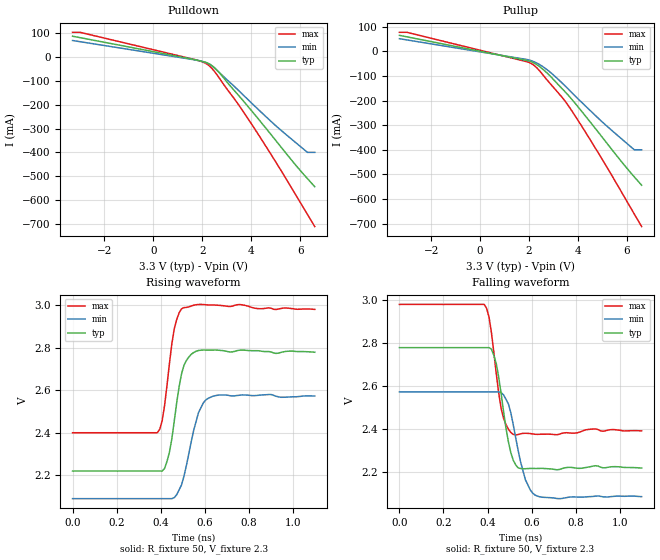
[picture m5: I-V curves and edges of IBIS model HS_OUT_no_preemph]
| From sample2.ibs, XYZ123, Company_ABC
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|   Model HS_OUT_no_preemph
[Model]   HS_OUT_no_preemph
Model_type   Output_ECL
Polarity   Non-Inverting
Vmeas   = 2.4V
Cref   = 0pF
Vref   = 2.3V
Rref   = 50ohms
C_comp   1.6pF   1.6pF   1.6pF
[Temperature Range]   50   0   125
[Voltage Range]   3.3V   3.135V   3.465V
[Pullup Reference]   3.3V   3.0V   3.6V
[Pulldown Reference]   3.3V   3.0V   3.6V
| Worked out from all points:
|   rising waveform, R_fixture 50, V_fixture 2.3: 20-80 % time 49.1ps typ, 63.6ps min, 42.1ps max; typ from 2.22 V to 2.78 V
|   falling waveform, R_fixture 50, V_fixture 2.3: 20-80 % time 50.6ps typ, 61.2ps min, 44.1ps max; typ from 2.78 V to 2.22 V
[Pulldown]
| voltage   I(typ)   I(min)   I(max)
-3.3V     87.39mA    69.42mA    103.8mA
-3V       81.53mA    64.55mA    103.8mA
1.7V      -10.76mA   -12mA      -10.72mA
2.1V      -21.01mA   -21.15mA   -24.15mA
2.3V      -29.7mA    -30.11mA   -37.83mA
2.5V      -44.61mA   -46.28mA   -60.17mA
2.7V      -65.57mA   -65.16mA   -88.36mA
3.7V      -186.3mA   -161.5mA   -232.2mA
4.6V      -298.1mA   -249.5mA   -373.8mA
5.5V      -412.9mA   -331.2mA   -522.8mA
6.3V      -509.7mA   -399.7mA   -659.7mA
6.6V      -543.6mA   -399.7mA   -710.8mA
[Pullup]
-3.3V     65.17mA    51.59mA    77.63mA
-3V       59.3mA     46.74mA    77.63mA
1.7V      -32.84mA   -29.48mA   -36.8mA
2V        -38.96mA   -34.85mA   -44.89mA
2.2V      -47mA      -41.93mA   -56.6mA
2.4V      -59.73mA   -51.78mA   -75.75mA
2.8V      -94.03mA   -79.37mA   -123.7mA
3.4V      -156.6mA   -133.3mA   -192.9mA
3.7V      -189.3mA   -162.9mA   -234.5mA
4.9V      -337.2mA   -278.2mA   -424mA
6.3V      -509.7mA   -399.7mA   -660.6mA
6.6V      -543.6mA   -399.7mA   -711.5mA
[Ramp]
dV/dt_r  0.16596V/0.033739ns   0.14556V/0.0427611ns   0.17454V/0.027753ns
dV/dt_f  0.17076V/0.0324257ns   0.1476V/0.0429392ns   0.1791V/0.0294216ns
R_load   = 50
[Rising Waveform]
R_fixture   = 50
V_fixture   = 2.3
V_fixture_min   = 2.135
V_fixture_max   = 2.465
|  time   V(typ)   V(min)   V(max)
0s        2.22V      2.09V      2.4V
385ps     2.22V      2.09V      2.4V
407ps     2.22V      2.09V      2.457V
440ps     2.308V     2.09V      2.725V
462ps     2.456V     2.095V     2.889V
495ps     2.677V     2.155V     2.983V
528ps     2.756V     2.301V     2.992V
572ps     2.787V     2.495V     3.003V
616ps     2.788V     2.562V     3.001V
1.1ns     2.779V     2.572V     2.98V
[Falling Waveform]
R_fixture   = 50
V_fixture   = 2.3
V_fixture_min   = 2.135
V_fixture_max   = 2.465
|  time   V(typ)   V(min)   V(max)
0s        2.779V     2.572V     2.98V
385ps     2.779V     2.572V     2.98V
407ps     2.779V     2.572V     2.92V
440ps     2.703V     2.572V     2.655V
473ps     2.48V      2.558V     2.449V
495ps     2.339V     2.516V     2.398V
517ps     2.253V     2.419V     2.374V
572ps     2.214V     2.163V     2.38V
616ps     2.215V     2.091V     2.375V
1.1ns     2.217V     2.084V     2.39V
